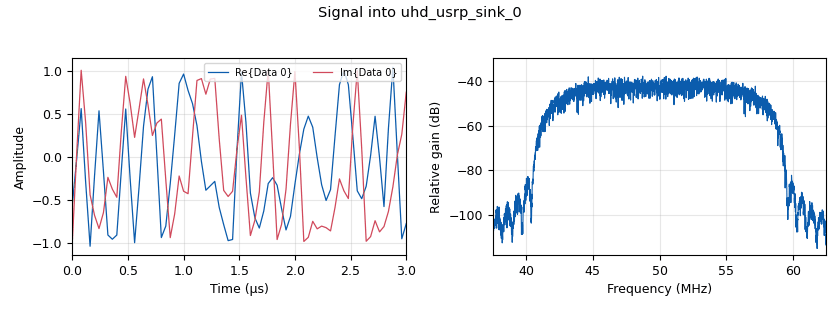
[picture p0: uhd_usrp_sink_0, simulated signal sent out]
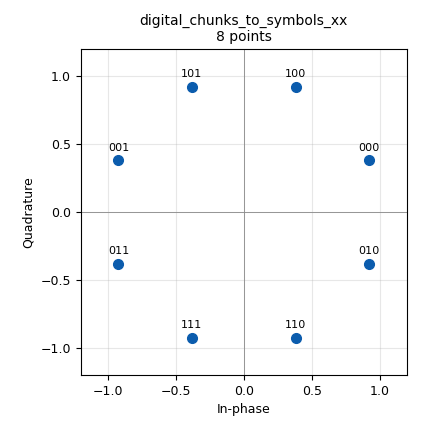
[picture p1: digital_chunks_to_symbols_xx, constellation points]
<?xml version='1.0' encoding='utf-8'?>
<?grc format='1' created='3.7.11'?>
<flow_graph>
<block>
<key>options</key>
<param><key>id</key><value>ber_simulation</value></param>
<param><key>author</key><value>Example</value></param>
<param><key>category</key><value>Custom</value></param>
<param><key>description</key><value>Adjust the noise and constellation... see what happens!</value></param>
<param><key>generate_options</key><value>qt_gui</value></param>
<param><key>run</key><value>run_stop</value></param>
<param><key>title</key><value>BER Simulation</value></param>
</block>
<block>
<key>variable</key>
<param><key>id</key><value>B</value></param>
<param><key>value</key><value>Rs*(1+rolloff)</value></param>
</block>
<block>
<key>variable</key>
<param><key>id</key><value>Bps</value></param>
<param><key>value</key><value>int(math.log(M,2))</value></param>
</block>
<block>
<key>variable</key>
<param><key>id</key><value>Constelacion</value></param>
<param><key>_enabled</key><value>0</value></param>
<param><key>value</key><value>(digital.constellation_bpsk(), digital.constellation_qpsk(), digital.constellation_8psk(), digital.qam.qam_constellation(16))</value></param>
</block>
<block>
<key>variable</key>
<param><key>id</key><value>Constelacion</value></param>
<param><key>_enabled</key><value>0</value></param>
<param><key>value</key><value>[(1. + 1.j),  (-1. + 1.j), (-1. - 1.j), (1. - 1.j)]</value></param>
</block>
<block>
<key>variable</key>
<param><key>id</key><value>Constelacion</value></param>
<param><key>value</key><value>digital.constellation_8psk().points()</value></param>
</block>
<block>
<key>variable</key>
<param><key>id</key><value>Constelacion</value></param>
<param><key>_enabled</key><value>0</value></param>
<param><key>value</key><value>digital.constellation_bpsk().points()</value></param>
</block>
<block>
<key>variable</key>
<param><key>id</key><value>Constelacion</value></param>
<param><key>_enabled</key><value>0</value></param>
<param><key>value</key><value>digital.constellation_qpsk().points()</value></param>
</block>
<block>
<key>variable</key>
<param><key>id</key><value>Constelacion</value></param>
<param><key>_enabled</key><value>0</value></param>
<param><key>value</key><value>[(0.9238795325+0.3826834324j), (0.7071067812 + 0.7071067812j ), (0.3826834324 + 0.9238795325j), (0+1.j), (-0.3826834324 + 0.9238795325j ) , (-0.7071067812 + 0.7071067812j), (-0.9238795325 + 0.3826834324j), (-1+0.j) , (-0.9238795325 - 0.3826834324j),  (-0.7071067812 - 0.7071067812j), (-0.3826834324 - 0.9238795325j), (0. - 1.j), (0.3826834324 - 0.9238795325j), (0.7071067812 - 0.7071067812j), (0.9238795325  - 0.3826834324j), (1) ]  </value></param>
</block>
<block>
<key>variable_qtgui_range</key>
<param><key>id</key><value>EbN0</value></param>
<param><key>value</key><value>14.</value></param>
<param><key>_enabled</key><value>0</value></param>
<param><key>gui_hint</key><value>0,3,1,1</value></param>
<param><key>label</key><value>Eb / N0 (dB)</value></param>
<param><key>orient</key><value>Qt.Horizontal</value></param>
<param><key>start</key><value>-30</value></param>
<param><key>step</key><value>1</value></param>
<param><key>stop</key><value>200</value></param>
</block>
<block>
<key>variable</key>
<param><key>id</key><value>M</value></param>
<param><key>value</key><value>len(Constelacion)</value></param>
</block>
<block>
<key>variable_constellation</key>
<param><key>id</key><value>MiconstellationObject</value></param>
<param><key>const_points</key><value>Constelacion</value></param>
<param><key>type</key><value>calcdist</value></param>
<param><key>dims</key><value>1</value></param>
<param><key>rot_sym</key><value>4</value></param>
<param><key>precision</key><value>8</value></param>
<param><key>sym_map</key><value></value></param>
</block>
<block>
<key>variable</key>
<param><key>id</key><value>Rb</value></param>
<param><key>value</key><value>Rs*Bps</value></param>
</block>
<block>
<key>variable_qtgui_range</key>
<param><key>id</key><value>Retardo_Timing</value></param>
<param><key>value</key><value>3</value></param>
<param><key>_enabled</key><value>0</value></param>
<param><key>gui_hint</key><value>0,1,1,1</value></param>
<param><key>label</key><value>Timing</value></param>
<param><key>orient</key><value>Qt.Horizontal</value></param>
<param><key>start</key><value>0</value></param>
<param><key>step</key><value>1</value></param>
<param><key>stop</key><value>Sps-1</value></param>
<param><key>rangeType</key><value>int</value></param>
</block>
<block>
<key>variable_qtgui_range</key>
<param><key>id</key><value>Retardo_propag</value></param>
<param><key>value</key><value>int(ntaps/Sps)+1</value></param>
<param><key>gui_hint</key><value>0,2,1,1</value></param>
<param><key>label</key><value>Propagation delay</value></param>
<param><key>orient</key><value>Qt.Horizontal</value></param>
<param><key>start</key><value>0</value></param>
<param><key>step</key><value>1</value></param>
<param><key>stop</key><value>Sps*200</value></param>
<param><key>rangeType</key><value>int</value></param>
</block>
<block>
<key>variable</key>
<param><key>id</key><value>Rs</value></param>
<param><key>value</key><value>samp_rate/Sps</value></param>
</block>
<block>
<key>variable</key>
<param><key>id</key><value>Sps</value></param>
<param><key>value</key><value>2</value></param>
</block>
<block>
<key>variable</key>
<param><key>id</key><value>fc</value></param>
<param><key>value</key><value>Rs</value></param>
</block>
<block>
<key>variable</key>
<param><key>id</key><value>h_rect</value></param>
<param><key>value</key><value>wform.rect(Sps,ntaps)</value></param>
</block>
<block>
<key>variable</key>
<param><key>id</key><value>h_rrc</value></param>
<param><key>value</key><value>wform.rrcos(Sps,ntaps,rolloff)</value></param>
</block>
<block>
<key>variable</key>
<param><key>id</key><value>ntaps</value></param>
<param><key>value</key><value>Sps*16</value></param>
</block>
<block>
<key>variable</key>
<param><key>id</key><value>rolloff</value></param>
<param><key>value</key><value>0.5</value></param>
</block>
<block>
<key>variable_qtgui_check_box</key>
<param><key>id</key><value>run_stop</value></param>
<param><key>value</key><value>True</value></param>
<param><key>false</key><value>False</value></param>
<param><key>gui_hint</key><value>0,0,1,1</value></param>
<param><key>label</key><value>Pause</value></param>
<param><key>true</key><value>True</value></param>
<param><key>type</key><value>int</value></param>
</block>
<block>
<key>variable</key>
<param><key>id</key><value>samp_rate</value></param>
<param><key>value</key><value>25e6</value></param>
</block>
<block>
<key>E3TRadio_diezmador_cc</key>
<param><key>id</key><value>E3TRadio_diezmador_cc_0</value></param>
<param><key>_enabled</key><value>0</value></param>
<param><key>paso</key><value>Sps</value></param>
</block>
<block>
<key>analog_noise_source_x</key>
<param><key>id</key><value>analog_noise_source_x_0</value></param>
<param><key>amp</key><value>0.4</value></param>
<param><key>_enabled</key><value>0</value></param>
<param><key>noise_type</key><value>analog.GR_GAUSSIAN</value></param>
<param><key>type</key><value>complex</value></param>
<param><key>seed</key><value>0</value></param>
</block>
<block>
<key>analog_random_source_x</key>
<param><key>id</key><value>analog_random_source_x</value></param>
<param><key>max</key><value>M</value></param>
<param><key>min</key><value>0</value></param>
<param><key>num_samps</key><value>10000000</value></param>
<param><key>type</key><value>byte</value></param>
<param><key>repeat</key><value>True</value></param>
</block>
<block>
<key>b_Eye_Timing_c</key>
<param><key>id</key><value>b_Eye_Timing_c_0</value></param>
<param><key>AlphaLineas</key><value>0.5</value></param>
<param><key>_enabled</key><value>0</value></param>
<param><key>gui_hint</key><value>menu@1:1,0,1,1</value></param>
<param><key>GrosorLineas</key><value>20</value></param>
<param><key>N_eyes</key><value>2</value></param>
<param><key>Retardo_Timing</key><value>Retardo_Timing</value></param>
<param><key>Samprate</key><value>samp_rate</value></param>
<param><key>Sps</key><value>Sps</value></param>
<param><key>Title</key><value>"Eye Diagram and Timing"</value></param>
<param><key>Ymax</key><value>2</value></param>
<param><key>Ymin</key><value>-2</value></param>
</block>
<block>
<key>b_PSD_c</key>
<param><key>id</key><value>b_PSD_c_0</value></param>
<param><key>_enabled</key><value>0</value></param>
<param><key>Fc</key><value>0</value></param>
<param><key>samp_rate_audio</key><value>samp_rate</value></param>
<param><key>gui_hint</key><value>menu@4:2,0,1,1</value></param>
<param><key>N</key><value>1024</value></param>
<param><key>Ensayos</key><value>1000000</value></param>
<param><key>Titulo</key><value>'PSD in R1a'</value></param>
<param><key>Ymax</key><value>1e-5</value></param>
</block>
<block>
<key>b_PSD_c</key>
<param><key>id</key><value>b_PSD_c_0_0</value></param>
<param><key>_enabled</key><value>0</value></param>
<param><key>Fc</key><value>0</value></param>
<param><key>samp_rate_audio</key><value>samp_rate</value></param>
<param><key>gui_hint</key><value>menu@4:1,0,1,1</value></param>
<param><key>N</key><value>1024</value></param>
<param><key>Ensayos</key><value>1000000</value></param>
<param><key>Titulo</key><value>'PSD in T1'</value></param>
<param><key>Ymax</key><value>1e-5</value></param>
</block>
<block>
<key>blocks_add_xx</key>
<param><key>id</key><value>blocks_add_xx_0</value></param>
<param><key>_enabled</key><value>0</value></param>
<param><key>type</key><value>complex</value></param>
</block>
<block>
<key>blocks_char_to_float</key>
<param><key>id</key><value>blocks_char_to_float_0_0_0</value></param>
<param><key>_enabled</key><value>0</value></param>
<param><key>scale</key><value>1</value></param>
</block>
<block>
<key>blocks_char_to_float</key>
<param><key>id</key><value>blocks_char_to_float_0_1</value></param>
<param><key>_enabled</key><value>0</value></param>
<param><key>scale</key><value>1</value></param>
</block>
<block>
<key>blocks_delay</key>
<param><key>id</key><value>blocks_delay_0_0</value></param>
<param><key>delay</key><value>Sps-Retardo_Timing</value></param>
<param><key>_enabled</key><value>0</value></param>
<param><key>type</key><value>complex</value></param>
</block>
<block>
<key>blocks_delay</key>
<param><key>id</key><value>blocks_delay_0_1</value></param>
<param><key>delay</key><value>Retardo_propag</value></param>
<param><key>_enabled</key><value>0</value></param>
<param><key>type</key><value>byte</value></param>
</block>
<block>
<key>blocks_multiply_const_vxx</key>
<param><key>id</key><value>blocks_multiply_const_vxx_0</value></param>
<param><key>const</key><value>1./Sps</value></param>
<param><key>_enabled</key><value>0</value></param>
<param><key>type</key><value>complex</value></param>
</block>
<block>
<key>blocks_null_sink</key>
<param><key>id</key><value>blocks_null_sink_0</value></param>
<param><key>bus_conns</key><value>[[0,],]</value></param>
<param><key>_enabled</key><value>0</value></param>
<param><key>type</key><value>byte</value></param>
</block>
<block>
<key>digital_chunks_to_symbols_xx</key>
<param><key>id</key><value>digital_chunks_to_symbols_xx</value></param>
<param><key>dimension</key><value>1</value></param>
<param><key>in_type</key><value>byte</value></param>
<param><key>out_type</key><value>complex</value></param>
<param><key>symbol_table</key><value>Constelacion</value></param>
</block>
<block>
<key>digital_constellation_decoder_cb</key>
<param><key>id</key><value>digital_constellation_decoder_cb_0</value></param>
<param><key>constellation</key><value>MiconstellationObject</value></param>
<param><key>_enabled</key><value>0</value></param>
</block>
<block>
<key>import</key>
<param><key>id</key><value>import</value></param>
<param><key>import</key><value>import math</value></param>
</block>
<block>
<key>interp_fir_filter_xxx</key>
<param><key>id</key><value>interp_fir_filter_xxx_0_0_0</value></param>
<param><key>interp</key><value>Sps</value></param>
<param><key>taps</key><value>h_rrc</value></param>
<param><key>type</key><value>ccc</value></param>
</block>
<block>
<key>interp_fir_filter_xxx</key>
<param><key>id</key><value>interp_fir_filter_xxx_0_0_0_0</value></param>
<param><key>_enabled</key><value>0</value></param>
<param><key>interp</key><value>1</value></param>
<param><key>taps</key><value>h_rrc</value></param>
<param><key>type</key><value>ccc</value></param>
</block>
<block>
<key>qtgui_tab_widget</key>
<param><key>id</key><value>menu</value></param>
<param><key>gui_hint</key><value>2,0,1,4</value></param>
<param><key>label0</key><value>Constelation Timing</value></param>
<param><key>label1</key><value>Eye Timing</value></param>
<param><key>label2</key><value>M-PAM</value></param>
<param><key>label3</key><value>EC</value></param>
<param><key>label4</key><value>PSD</value></param>
<param><key>label5</key><value>Constelation Channel</value></param>
<param><key>num_tabs</key><value>6</value></param>
</block>
<block>
<key>note</key>
<param><key>id</key><value>note_0</value></param>
<param><key>_enabled</key><value>0</value></param>
<param><key>note</key><value>M-PAM LAYER</value></param>
</block>
<block>
<key>note</key>
<param><key>id</key><value>note_0_0</value></param>
<param><key>_enabled</key><value>0</value></param>
<param><key>note</key><value>ADAPTATION LAYER</value></param>
</block>
<block>
<key>note</key>
<param><key>id</key><value>note_0_0_0_1</value></param>
<param><key>_enabled</key><value>0</value></param>
<param><key>note</key><value>Modulation</value></param>
</block>
<block>
<key>qtgui_const_sink_x</key>
<param><key>id</key><value>qtgui_const_sink_x_0</value></param>
<param><key>_enabled</key><value>0</value></param>
<param><key>gui_hint</key><value>menu@0:1,0,1,1</value></param>
<param><key>label1</key><value>T4</value></param>
<param><key>label2</key><value>R4</value></param>
<param><key>nconnections</key><value>2</value></param>
<param><key>size</key><value>1024</value></param>
<param><key>type</key><value>complex</value></param>
</block>
<block>
<key>qtgui_const_sink_x</key>
<param><key>id</key><value>qtgui_const_sink_x_0_0</value></param>
<param><key>_enabled</key><value>0</value></param>
<param><key>gui_hint</key><value>menu@5:1,0,1,1</value></param>
<param><key>label1</key><value>T1</value></param>
<param><key>marker1</key><value>-1</value></param>
<param><key>style1</key><value>1</value></param>
<param><key>width1</key><value>3</value></param>
<param><key>label2</key><value>R1a</value></param>
<param><key>marker2</key><value>-1</value></param>
<param><key>style2</key><value>1</value></param>
<param><key>width2</key><value>3</value></param>
<param><key>nconnections</key><value>2</value></param>
<param><key>size</key><value>1024</value></param>
<param><key>type</key><value>complex</value></param>
</block>
<block>
<key>qtgui_time_sink_x</key>
<param><key>id</key><value>qtgui_time_sink_x_0_0_0</value></param>
<param><key>_enabled</key><value>0</value></param>
<param><key>gui_hint</key><value>menu@3:1,0,1,1</value></param>
<param><key>color1</key><value>"blue"</value></param>
<param><key>label1</key><value>T4 (Re)</value></param>
<param><key>width1</key><value>3</value></param>
<param><key>color2</key><value>"Dark Blue"</value></param>
<param><key>label2</key><value>T4 (Im)</value></param>
<param><key>style2</key><value>2</value></param>
<param><key>width2</key><value>3</value></param>
<param><key>color3</key><value>"green"</value></param>
<param><key>label3</key><value>R4 (Re)</value></param>
<param><key>width3</key><value>3</value></param>
<param><key>color4</key><value>"magenta"</value></param>
<param><key>label4</key><value>R4 (Im)</value></param>
<param><key>width4</key><value>3</value></param>
<param><key>nconnections</key><value>2</value></param>
<param><key>size</key><value>20*Sps</value></param>
<param><key>srate</key><value>samp_rate</value></param>
<param><key>type</key><value>complex</value></param>
<param><key>ymax</key><value>3</value></param>
<param><key>ymin</key><value>-3</value></param>
</block>
<block>
<key>qtgui_time_sink_x</key>
<param><key>id</key><value>qtgui_time_sink_x_0_1</value></param>
<param><key>_enabled</key><value>0</value></param>
<param><key>gui_hint</key><value>menu@2:1,0,1,1</value></param>
<param><key>color1</key><value>"blue"</value></param>
<param><key>label1</key><value>MPAM (T5)</value></param>
<param><key>width1</key><value>2</value></param>
<param><key>color2</key><value>"red"</value></param>
<param><key>label2</key><value>MPAM (R5)</value></param>
<param><key>width2</key><value>2</value></param>
<param><key>nconnections</key><value>2</value></param>
<param><key>size</key><value>60</value></param>
<param><key>srate</key><value>Rs</value></param>
<param><key>type</key><value>float</value></param>
<param><key>ymax</key><value>M</value></param>
</block>
<block>
<key>uhd_usrp_sink</key>
<param><key>id</key><value>uhd_usrp_sink_0</value></param>
<param><key>ant0</key><value>TX/RX</value></param>
<param><key>bw0</key><value>samp_rate</value></param>
<param><key>center_freq0</key><value>50000000</value></param>
<param><key>norm_gain0</key><value>False</value></param>
<param><key>gain0</key><value>0</value></param>
<param><key>clock_rate</key><value>0.0</value></param>
<param><key>dev_args</key><value>""</value></param>
<param><key>type</key><value>fc32</value></param>
<param><key>samp_rate</key><value>samp_rate</value></param>
<param><key>hide_cmd_port</key><value>False</value></param>
<param><key>hide_lo_controls</key><value>True</value></param>
<param><key>sync</key><value></value></param>
<param><key>len_tag_name</key><value></value></param>
</block>
<block>
<key>uhd_usrp_source</key>
<param><key>id</key><value>uhd_usrp_source_0</value></param>
<param><key>ant0</key><value>RX2</value></param>
<param><key>bw0</key><value>B</value></param>
<param><key>center_freq0</key><value>fc</value></param>
<param><key>dc_offs_enb0</key><value>""</value></param>
<param><key>iq_imbal_enb0</key><value>""</value></param>
<param><key>norm_gain0</key><value>False</value></param>
<param><key>gain0</key><value>1</value></param>
<param><key>clock_rate</key><value>0.0</value></param>
<param><key>dev_args</key><value>""</value></param>
<param><key>_enabled</key><value>0</value></param>
<param><key>type</key><value>fc32</value></param>
<param><key>samp_rate</key><value>samp_rate</value></param>
<param><key>hide_cmd_port</key><value>False</value></param>
<param><key>hide_lo_controls</key><value>True</value></param>
<param><key>sync</key><value></value></param>
</block>
<block>
<key>virtual_sink</key>
<param><key>id</key><value>virtual_sink_0_0_0</value></param>
<param><key>_enabled</key><value>0</value></param>
<param><key>stream_id</key><value>T5</value></param>
</block>
<block>
<key>virtual_sink</key>
<param><key>id</key><value>virtual_sink_0_0_0_0</value></param>
<param><key>_enabled</key><value>0</value></param>
<param><key>stream_id</key><value>R5</value></param>
</block>
<block>
<key>virtual_sink</key>
<param><key>id</key><value>vs_0_0_1</value></param>
<param><key>_enabled</key><value>0</value></param>
<param><key>stream_id</key><value>R4</value></param>
</block>
<block>
<key>virtual_sink</key>
<param><key>id</key><value>vs_0_0_1_0</value></param>
<param><key>_enabled</key><value>0</value></param>
<param><key>stream_id</key><value>R1a</value></param>
</block>
<block>
<key>virtual_sink</key>
<param><key>id</key><value>vs_0_2</value></param>
<param><key>_enabled</key><value>0</value></param>
<param><key>stream_id</key><value>T4</value></param>
</block>
<block>
<key>virtual_sink</key>
<param><key>id</key><value>vs_0_2_0</value></param>
<param><key>_enabled</key><value>0</value></param>
<param><key>stream_id</key><value>T1</value></param>
</block>
<block>
<key>virtual_sink</key>
<param><key>id</key><value>vs_0_2_0_0</value></param>
<param><key>_enabled</key><value>0</value></param>
<param><key>stream_id</key><value>R1</value></param>
</block>
<block>
<key>virtual_source</key>
<param><key>id</key><value>vso_0_1_0_0</value></param>
<param><key>_enabled</key><value>0</value></param>
<param><key>stream_id</key><value>R1a</value></param>
</block>
<block>
<key>virtual_source</key>
<param><key>id</key><value>vso_0_1_0_0_0</value></param>
<param><key>_enabled</key><value>0</value></param>
<param><key>stream_id</key><value>T4</value></param>
</block>
<block>
<key>virtual_source</key>
<param><key>id</key><value>vso_0_1_0_0_0_0</value></param>
<param><key>_enabled</key><value>0</value></param>
<param><key>stream_id</key><value>R4</value></param>
</block>
<block>
<key>virtual_source</key>
<param><key>id</key><value>vso_0_1_0_0_0_0_0</value></param>
<param><key>_enabled</key><value>0</value></param>
<param><key>stream_id</key><value>R5</value></param>
</block>
<block>
<key>virtual_source</key>
<param><key>id</key><value>vso_0_1_0_0_0_0_1</value></param>
<param><key>_enabled</key><value>0</value></param>
<param><key>stream_id</key><value>R1a</value></param>
</block>
<block>
<key>virtual_source</key>
<param><key>id</key><value>vso_0_1_0_0_0_1</value></param>
<param><key>_enabled</key><value>0</value></param>
<param><key>stream_id</key><value>T5</value></param>
</block>
<block>
<key>virtual_source</key>
<param><key>id</key><value>vso_0_1_0_0_0_2</value></param>
<param><key>_enabled</key><value>0</value></param>
<param><key>stream_id</key><value>T1</value></param>
</block>
<block>
<key>virtual_source</key>
<param><key>id</key><value>vso_0_1_0_0_1_0_0</value></param>
<param><key>_enabled</key><value>0</value></param>
<param><key>stream_id</key><value>R1a</value></param>
</block>
<block>
<key>virtual_source</key>
<param><key>id</key><value>vso_0_1_0_0_1_0_0_0</value></param>
<param><key>_enabled</key><value>0</value></param>
<param><key>stream_id</key><value>R4</value></param>
</block>
<block>
<key>virtual_source</key>
<param><key>id</key><value>vso_0_1_0_0_1_1</value></param>
<param><key>_enabled</key><value>0</value></param>
<param><key>stream_id</key><value>T1</value></param>
</block>
<block>
<key>virtual_source</key>
<param><key>id</key><value>vso_0_1_0_0_1_1_0</value></param>
<param><key>_enabled</key><value>0</value></param>
<param><key>stream_id</key><value>T4</value></param>
</block>
<block>
<key>epy_module</key>
<param><key>id</key><value>wform</value></param>
<param><key>source_code</key><value>import math
import numpy
#######################################################
##        Hecho por Homero Ortega Boada              ##
##        comdiguis@saber.uis.edu.co                 ##
##     Universidad Industrial de Santander           ##
#######################################################

#######################################################
##               Forma rectangular                   ##
#######################################################                       
def rect(Sps,ntaps):
    h=ntaps*[0,]
    for n in range(Sps):
        k=int(ntaps/2) # esto es para que h[n] quede centrada en la mitad del vector
        h[k-n]=1.
	#print(h)
    return h

#######################################################
##               Forma de Nyquist                    ##
#######################################################                       
def nyq(Sps,ntaps):
    ntaps_min=-int(ntaps/2)
    ntaps_max=abs(ntaps_min)-1+int(math.ceil(ntaps/2.-abs(ntaps_min)))
    h=ntaps*[0,]
    for n in range(ntaps):
        k=n-ntaps/2. # esto es para que h[n] quede centrada en la mitad del vector
        h[n]=numpy.sinc(k/Sps)
    Amp=numpy.amax(h)
    return h/Amp

#######################################################
##               Forma Coseno Alzado                 ##
#######################################################                       
def rcos(Sps,ntaps,beta):
    if beta==0:
        h=nyq(Sps,ntaps)
    else:
        h=ntaps*[0,]
        for n in range(ntaps):
            k=n-ntaps/2. # esto es para que h[n] quede centrada en la mitad del vector
            if abs(k)==Sps/(2.*beta):
                h[n]=numpy.sinc(1./(2.*beta))*math.pi/4.
            else:
                h[n]=numpy.sinc(k/Sps)*math.cos(beta*k*math.pi/Sps)/(1.-(2.*beta*k/Sps)**2)                
    Amp=numpy.amax(h)
    return h/Amp

#######################################################
##            Forma Raiz de Coseno Alzado            ##
#######################################################                       

def rrcos(Sps,ntaps,beta):
    if beta==0:
        h=nyq(Sps,ntaps)
    else:
        h=ntaps*[0,]
        beta4=4.*beta
        for n in range(ntaps):
            k=n-ntaps/2. # esto es para que h[n] quede centrada en la mitad del vector
            if k==0:
                h[n]=1+beta*(4./math.pi-1.)
            elif abs(k)==Sps/beta4:
                ha=(1.+2./math.pi)*math.sin(math.pi/beta4)
                hb=(1.-2./math.pi)*math.cos(math.pi/beta4)
                h[n]=(ha+hb)*beta/math.sqrt(2.)
            else:
                ks=k/Sps
                kspi=math.pi*ks
                Num=math.sin(kspi*(1-beta))+beta4*ks*math.cos(kspi*(1+beta))
                Den=kspi*(1.-(beta4*ks)**2)
                h[n]=Num/Den                
    Amp=numpy.amax(h)
    return h/Amp
</value></param>
</block>
<connection><source_block_id>E3TRadio_diezmador_cc_0</source_block_id><sink_block_id>digital_constellation_decoder_cb_0</sink_block_id><source_key>0</source_key><sink_key>0</sink_key></connection>
<connection><source_block_id>E3TRadio_diezmador_cc_0</source_block_id><sink_block_id>vs_0_0_1</sink_block_id><source_key>0</source_key><sink_key>0</sink_key></connection>
<connection><source_block_id>analog_noise_source_x_0</source_block_id><sink_block_id>blocks_add_xx_0</sink_block_id><source_key>0</source_key><sink_key>1</sink_key></connection>
<connection><source_block_id>analog_random_source_x</source_block_id><sink_block_id>digital_chunks_to_symbols_xx</sink_block_id><source_key>0</source_key><sink_key>0</sink_key></connection>
<connection><source_block_id>analog_random_source_x</source_block_id><sink_block_id>virtual_sink_0_0_0</sink_block_id><source_key>0</source_key><sink_key>0</sink_key></connection>
<connection><source_block_id>blocks_add_xx_0</source_block_id><sink_block_id>interp_fir_filter_xxx_0_0_0_0</sink_block_id><source_key>0</source_key><sink_key>0</sink_key></connection>
<connection><source_block_id>blocks_add_xx_0</source_block_id><sink_block_id>vs_0_2_0_0</sink_block_id><source_key>0</source_key><sink_key>0</sink_key></connection>
<connection><source_block_id>blocks_char_to_float_0_0_0</source_block_id><sink_block_id>qtgui_time_sink_x_0_1</sink_block_id><source_key>0</source_key><sink_key>1</sink_key></connection>
<connection><source_block_id>blocks_char_to_float_0_1</source_block_id><sink_block_id>qtgui_time_sink_x_0_1</sink_block_id><source_key>0</source_key><sink_key>0</sink_key></connection>
<connection><source_block_id>blocks_delay_0_0</source_block_id><sink_block_id>E3TRadio_diezmador_cc_0</sink_block_id><source_key>0</source_key><sink_key>0</sink_key></connection>
<connection><source_block_id>blocks_delay_0_1</source_block_id><sink_block_id>blocks_char_to_float_0_1</sink_block_id><source_key>0</source_key><sink_key>0</sink_key></connection>
<connection><source_block_id>blocks_multiply_const_vxx_0</source_block_id><sink_block_id>blocks_delay_0_0</sink_block_id><source_key>0</source_key><sink_key>0</sink_key></connection>
<connection><source_block_id>blocks_multiply_const_vxx_0</source_block_id><sink_block_id>vs_0_0_1_0</sink_block_id><source_key>0</source_key><sink_key>0</sink_key></connection>
<connection><source_block_id>digital_chunks_to_symbols_xx</source_block_id><sink_block_id>interp_fir_filter_xxx_0_0_0</sink_block_id><source_key>0</source_key><sink_key>0</sink_key></connection>
<connection><source_block_id>digital_chunks_to_symbols_xx</source_block_id><sink_block_id>vs_0_2</sink_block_id><source_key>0</source_key><sink_key>0</sink_key></connection>
<connection><source_block_id>digital_constellation_decoder_cb_0</source_block_id><sink_block_id>blocks_null_sink_0</sink_block_id><source_key>0</source_key><sink_key>0</sink_key></connection>
<connection><source_block_id>digital_constellation_decoder_cb_0</source_block_id><sink_block_id>virtual_sink_0_0_0_0</sink_block_id><source_key>0</source_key><sink_key>0</sink_key></connection>
<connection><source_block_id>interp_fir_filter_xxx_0_0_0</source_block_id><sink_block_id>blocks_add_xx_0</sink_block_id><source_key>0</source_key><sink_key>0</sink_key></connection>
<connection><source_block_id>interp_fir_filter_xxx_0_0_0</source_block_id><sink_block_id>uhd_usrp_sink_0</sink_block_id><source_key>0</source_key><sink_key>0</sink_key></connection>
<connection><source_block_id>interp_fir_filter_xxx_0_0_0</source_block_id><sink_block_id>vs_0_2_0</sink_block_id><source_key>0</source_key><sink_key>0</sink_key></connection>
<connection><source_block_id>interp_fir_filter_xxx_0_0_0_0</source_block_id><sink_block_id>blocks_multiply_const_vxx_0</sink_block_id><source_key>0</source_key><sink_key>0</sink_key></connection>
<connection><source_block_id>uhd_usrp_source_0</source_block_id><sink_block_id>interp_fir_filter_xxx_0_0_0_0</sink_block_id><source_key>0</source_key><sink_key>0</sink_key></connection>
<connection><source_block_id>vso_0_1_0_0</source_block_id><sink_block_id>b_Eye_Timing_c_0</sink_block_id><source_key>0</source_key><sink_key>0</sink_key></connection>
<connection><source_block_id>vso_0_1_0_0_0</source_block_id><sink_block_id>qtgui_const_sink_x_0</sink_block_id><source_key>0</source_key><sink_key>0</sink_key></connection>
<connection><source_block_id>vso_0_1_0_0_0_0</source_block_id><sink_block_id>qtgui_const_sink_x_0</sink_block_id><source_key>0</source_key><sink_key>1</sink_key></connection>
<connection><source_block_id>vso_0_1_0_0_0_0_0</source_block_id><sink_block_id>blocks_char_to_float_0_0_0</sink_block_id><source_key>0</source_key><sink_key>0</sink_key></connection>
<connection><source_block_id>vso_0_1_0_0_0_0_1</source_block_id><sink_block_id>qtgui_const_sink_x_0_0</sink_block_id><source_key>0</source_key><sink_key>1</sink_key></connection>
<connection><source_block_id>vso_0_1_0_0_0_1</source_block_id><sink_block_id>blocks_delay_0_1</sink_block_id><source_key>0</source_key><sink_key>0</sink_key></connection>
<connection><source_block_id>vso_0_1_0_0_0_2</source_block_id><sink_block_id>qtgui_const_sink_x_0_0</sink_block_id><source_key>0</source_key><sink_key>0</sink_key></connection>
<connection><source_block_id>vso_0_1_0_0_1_0_0</source_block_id><sink_block_id>b_PSD_c_0</sink_block_id><source_key>0</source_key><sink_key>0</sink_key></connection>
<connection><source_block_id>vso_0_1_0_0_1_0_0_0</source_block_id><sink_block_id>qtgui_time_sink_x_0_0_0</sink_block_id><source_key>0</source_key><sink_key>1</sink_key></connection>
<connection><source_block_id>vso_0_1_0_0_1_1</source_block_id><sink_block_id>b_PSD_c_0_0</sink_block_id><source_key>0</source_key><sink_key>0</sink_key></connection>
<connection><source_block_id>vso_0_1_0_0_1_1_0</source_block_id><sink_block_id>qtgui_time_sink_x_0_0_0</sink_block_id><source_key>0</source_key><sink_key>0</sink_key></connection>
</flow_graph>
